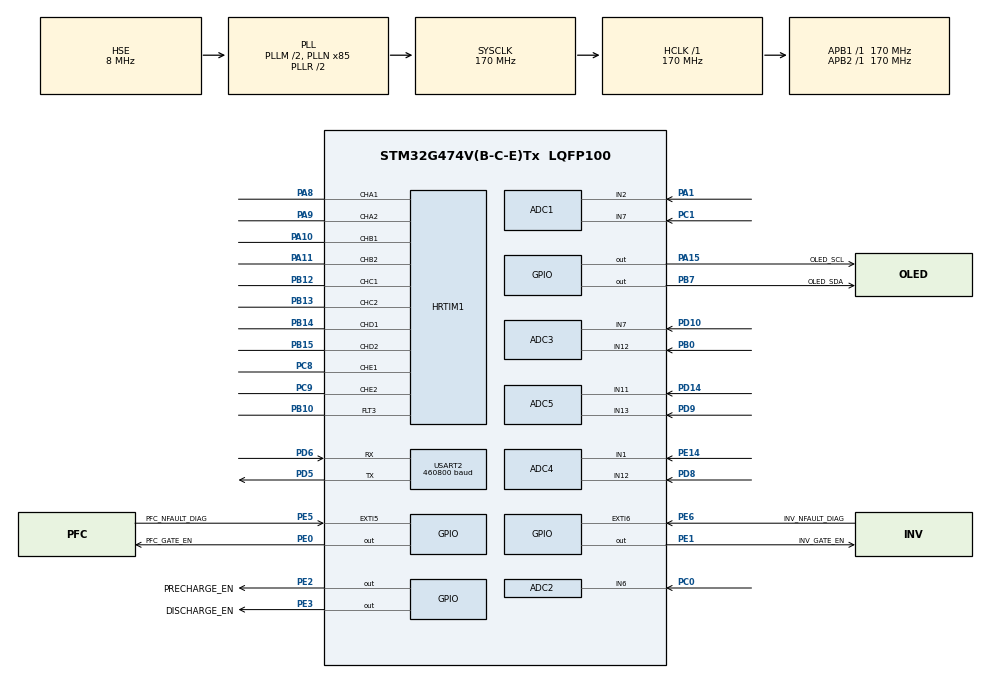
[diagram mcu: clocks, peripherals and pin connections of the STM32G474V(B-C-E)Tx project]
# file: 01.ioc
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ADC1.Channel-0\#ChannelRegularConversion=ADC_CHANNEL_2
ADC1.Channel-1\#ChannelRegularConversion=ADC_CHANNEL_7
ADC1.ClockPrescaler=ADC_CLOCK_ASYNC_DIV4
ADC1.DMAContinuousRequests=ENABLE
ADC1.EOCSelection=ADC_EOC_SEQ_CONV
ADC1.ExternalTrigConv=ADC_EXTERNALTRIG_HRTIM_TRG1
ADC1.NbrOfConversion=2
ADC1.NbrOfConversionFlag=1
ADC1.OffsetNumber-0\#ChannelRegularConversion=ADC_OFFSET_NONE
ADC1.OffsetNumber-1\#ChannelRegularConversion=ADC_OFFSET_NONE
ADC1.Overrun=ADC_OVR_DATA_OVERWRITTEN
ADC1.Rank-0\#ChannelRegularConversion=1
ADC1.Rank-1\#ChannelRegularConversion=2
ADC1.SamplingTime-0\#ChannelRegularConversion=ADC_SAMPLETIME_24CYCLES_5
ADC1.SamplingTime-1\#ChannelRegularConversion=ADC_SAMPLETIME_24CYCLES_5
ADC1.master=1
ADC2.Channel-0\#ChannelRegularConversion=ADC_CHANNEL_6
ADC2.ClockPrescaler=ADC_CLOCK_ASYNC_DIV4
ADC2.DMAContinuousRequests=ENABLE
ADC2.EOCSelection=ADC_EOC_SEQ_CONV
ADC2.ExternalTrigConv=ADC_EXTERNALTRIG_HRTIM_TRG1
ADC2.NbrOfConversion=1
ADC2.NbrOfConversionFlag=1
ADC2.OffsetNumber-0\#ChannelRegularConversion=ADC_OFFSET_NONE
ADC2.Overrun=ADC_OVR_DATA_OVERWRITTEN
ADC2.Rank-0\#ChannelRegularConversion=1
ADC2.SamplingTime-0\#ChannelRegularConversion=ADC_SAMPLETIME_24CYCLES_5
ADC3.Channel-0\#ChannelRegularConversion=ADC_CHANNEL_12
ADC3.Channel-2\#ChannelRegularConversion=ADC_CHANNEL_7
ADC3.ClockPrescaler=ADC_CLOCK_ASYNC_DIV4
ADC3.DMAContinuousRequests=ENABLE
ADC3.EOCSelection=ADC_EOC_SEQ_CONV
ADC3.ExternalTrigConv=ADC_EXTERNALTRIG_HRTIM_TRG2
ADC3.NbrOfConversion=2
ADC3.NbrOfConversionFlag=1
ADC3.OffsetNumber-2\#ChannelRegularConversion=ADC_OFFSET_NONE
ADC3.Overrun=ADC_OVR_DATA_OVERWRITTEN
ADC3.Rank-2\#ChannelRegularConversion=2
ADC3.SamplingTime-0\#ChannelRegularConversion=ADC_SAMPLETIME_24CYCLES_5
ADC3.SamplingTime-2\#ChannelRegularConversion=ADC_SAMPLETIME_24CYCLES_5
ADC3.master=1
ADC4.Channel-0\#ChannelRegularConversion=ADC_CHANNEL_12
ADC4.Channel-1\#ChannelRegularConversion=ADC_CHANNEL_1
ADC4.ClockPrescaler=ADC_CLOCK_ASYNC_DIV4
ADC4.DMAContinuousRequests=ENABLE
ADC4.EOCSelection=ADC_EOC_SEQ_CONV
ADC4.ExternalTrigConv=ADC_EXTERNALTRIG_HRTIM_TRG2
ADC4.NbrOfConversion=2
ADC4.NbrOfConversionFlag=1
ADC4.OffsetNumber-0\#ChannelRegularConversion=ADC_OFFSET_NONE
ADC4.OffsetNumber-1\#ChannelRegularConversion=ADC_OFFSET_NONE
ADC4.Overrun=ADC_OVR_DATA_OVERWRITTEN
ADC4.Rank-0\#ChannelRegularConversion=1
ADC4.Rank-1\#ChannelRegularConversion=2
ADC4.SamplingTime-0\#ChannelRegularConversion=ADC_SAMPLETIME_24CYCLES_5
ADC4.SamplingTime-1\#ChannelRegularConversion=ADC_SAMPLETIME_24CYCLES_5
ADC5.Channel-0\#ChannelRegularConversion=ADC_CHANNEL_13
ADC5.Channel-1\#ChannelRegularConversion=ADC_CHANNEL_11
ADC5.ClockPrescaler=ADC_CLOCK_ASYNC_DIV4
ADC5.DMAContinuousRequests=ENABLE
ADC5.EOCSelection=ADC_EOC_SEQ_CONV
ADC5.ExternalTrigConv=ADC_EXTERNALTRIG_HRTIM_TRG2
ADC5.NbrOfConversion=2
ADC5.NbrOfConversionFlag=1
ADC5.OffsetNumber-0\#ChannelRegularConversion=ADC_OFFSET_NONE
ADC5.OffsetNumber-1\#ChannelRegularConversion=ADC_OFFSET_NONE
ADC5.Overrun=ADC_OVR_DATA_OVERWRITTEN
ADC5.Rank-0\#ChannelRegularConversion=1
ADC5.Rank-1\#ChannelRegularConversion=2
ADC5.SamplingTime-0\#ChannelRegularConversion=ADC_SAMPLETIME_24CYCLES_5
ADC5.SamplingTime-1\#ChannelRegularConversion=ADC_SAMPLETIME_24CYCLES_5
Dma.ADC1.0.Direction=DMA_PERIPH_TO_MEMORY
Dma.ADC1.0.EventEnable=DISABLE
Dma.ADC1.0.Instance=DMA1_Channel1
Dma.ADC1.0.MemDataAlignment=DMA_MDATAALIGN_HALFWORD
Dma.ADC1.0.MemInc=DMA_MINC_ENABLE
Dma.ADC1.0.Mode=DMA_CIRCULAR
Dma.ADC1.0.PeriphDataAlignment=DMA_PDATAALIGN_HALFWORD
Dma.ADC1.0.PeriphInc=DMA_PINC_DISABLE
Dma.ADC1.0.Polarity=HAL_DMAMUX_REQ_GEN_RISING
Dma.ADC1.0.Priority=DMA_PRIORITY_HIGH
Dma.ADC1.0.RequestNumber=1
Dma.ADC1.0.SignalID=NONE
Dma.ADC1.0.SyncEnable=DISABLE
Dma.ADC1.0.SyncPolarity=HAL_DMAMUX_SYNC_NO_EVENT
Dma.ADC1.0.SyncRequestNumber=1
Dma.ADC1.0.SyncSignalID=NONE
Dma.ADC2.1.Direction=DMA_PERIPH_TO_MEMORY
Dma.ADC2.1.EventEnable=DISABLE
Dma.ADC2.1.Instance=DMA1_Channel2
Dma.ADC2.1.MemDataAlignment=DMA_MDATAALIGN_HALFWORD
Dma.ADC2.1.MemInc=DMA_MINC_ENABLE
Dma.ADC2.1.Mode=DMA_CIRCULAR
Dma.ADC2.1.PeriphDataAlignment=DMA_PDATAALIGN_HALFWORD
Dma.ADC2.1.PeriphInc=DMA_PINC_DISABLE
Dma.ADC2.1.Polarity=HAL_DMAMUX_REQ_GEN_RISING
Dma.ADC2.1.Priority=DMA_PRIORITY_HIGH
Dma.ADC2.1.RequestNumber=1
Dma.ADC2.1.SignalID=NONE
Dma.ADC2.1.SyncEnable=DISABLE
Dma.ADC2.1.SyncPolarity=HAL_DMAMUX_SYNC_NO_EVENT
Dma.ADC2.1.SyncRequestNumber=1
Dma.ADC2.1.SyncSignalID=NONE
Dma.ADC3.4.Direction=DMA_PERIPH_TO_MEMORY
Dma.ADC3.4.EventEnable=DISABLE
Dma.ADC3.4.Instance=DMA2_Channel1
Dma.ADC3.4.MemDataAlignment=DMA_MDATAALIGN_HALFWORD
Dma.ADC3.4.MemInc=DMA_MINC_ENABLE
Dma.ADC3.4.Mode=DMA_CIRCULAR
Dma.ADC3.4.PeriphDataAlignment=DMA_PDATAALIGN_HALFWORD
Dma.ADC3.4.PeriphInc=DMA_PINC_DISABLE
Dma.ADC3.4.Polarity=HAL_DMAMUX_REQ_GEN_RISING
Dma.ADC3.4.Priority=DMA_PRIORITY_HIGH
Dma.ADC3.4.RequestNumber=1
Dma.ADC3.4.SignalID=NONE
Dma.ADC3.4.SyncEnable=DISABLE
Dma.ADC3.4.SyncPolarity=HAL_DMAMUX_SYNC_NO_EVENT
Dma.ADC3.4.SyncRequestNumber=1
Dma.ADC3.4.SyncSignalID=NONE
Dma.ADC4.2.Direction=DMA_PERIPH_TO_MEMORY
Dma.ADC4.2.EventEnable=DISABLE
Dma.ADC4.2.Instance=DMA2_Channel2
Dma.ADC4.2.MemDataAlignment=DMA_MDATAALIGN_HALFWORD
Dma.ADC4.2.MemInc=DMA_MINC_ENABLE
Dma.ADC4.2.Mode=DMA_CIRCULAR
Dma.ADC4.2.PeriphDataAlignment=DMA_PDATAALIGN_HALFWORD
Dma.ADC4.2.PeriphInc=DMA_PINC_DISABLE
Dma.ADC4.2.Polarity=HAL_DMAMUX_REQ_GEN_RISING
Dma.ADC4.2.Priority=DMA_PRIORITY_HIGH
Dma.ADC4.2.RequestNumber=1
Dma.ADC4.2.SignalID=NONE
Dma.ADC4.2.SyncEnable=DISABLE
Dma.ADC4.2.SyncPolarity=HAL_DMAMUX_SYNC_NO_EVENT
Dma.ADC4.2.SyncRequestNumber=1
Dma.ADC4.2.SyncSignalID=NONE
Dma.ADC5.3.Direction=DMA_PERIPH_TO_MEMORY
Dma.ADC5.3.EventEnable=DISABLE
Dma.ADC5.3.Instance=DMA2_Channel3
Dma.ADC5.3.MemDataAlignment=DMA_MDATAALIGN_HALFWORD
Dma.ADC5.3.MemInc=DMA_MINC_ENABLE
Dma.ADC5.3.Mode=DMA_CIRCULAR
Dma.ADC5.3.PeriphDataAlignment=DMA_PDATAALIGN_HALFWORD
Dma.ADC5.3.PeriphInc=DMA_PINC_DISABLE
Dma.ADC5.3.Polarity=HAL_DMAMUX_REQ_GEN_RISING
Dma.ADC5.3.Priority=DMA_PRIORITY_HIGH
Dma.ADC5.3.RequestNumber=1
Dma.ADC5.3.SignalID=NONE
Dma.ADC5.3.SyncEnable=DISABLE
Dma.ADC5.3.SyncPolarity=HAL_DMAMUX_SYNC_NO_EVENT
Dma.ADC5.3.SyncRequestNumber=1
Dma.ADC5.3.SyncSignalID=NONE
Dma.Request0=ADC1
Dma.Request1=ADC2
Dma.Request2=ADC4
Dma.Request3=ADC5
Dma.Request4=ADC3
HRTIM1.ADCTrigger1_Source1=HRTIM_ADCTRIGGEREVENT13_MASTER_CMP2
HRTIM1.ADCTrigger2_Source1=HRTIM_ADCTRIGGEREVENT24_MASTER_CMP2
HRTIM1.ADCTrigger_Id1=HRTIM_ADCTRIGGER_1
HRTIM1.ADCTrigger_Id2=HRTIM_ADCTRIGGER_2
HRTIM1.BlankingSourceFaultLine3=__NULL
HRTIM1.Bmrom_TA=HRTIM_TIM_BMROM_BOTH
HRTIM1.Bmrom_TB=HRTIM_TIM_BMROM_BOTH
HRTIM1.Bmrom_TC=HRTIM_TIM_BMROM_BOTH
HRTIM1.Bmrom_TD=HRTIM_TIM_BMROM_BOTH
HRTIM1.Bmrom_TE=HRTIM_TIM_BMROM_BOTH
HRTIM1.CompareUnit1-MasterTimer=__NULL
HRTIM1.CompareUnit1-Output_TA1TA2=HRTIM_COMPAREUNIT_1
HRTIM1.CompareUnit1-Output_TB1TB2=HRTIM_COMPAREUNIT_1
HRTIM1.CompareUnit1-Output_TC1TC2=HRTIM_COMPAREUNIT_1
HRTIM1.CompareUnit1-Output_TD1TD2=HRTIM_COMPAREUNIT_1
HRTIM1.CompareUnit1-Output_TE1TE2=HRTIM_COMPAREUNIT_1
HRTIM1.CompareUnit2-MasterTimer=HRTIM_COMPAREUNIT_2
HRTIM1.CompareValue1-Output_TA1TA2=17000
HRTIM1.CompareValue1-Output_TB1TB2=17000
HRTIM1.CompareValue1-Output_TC1TC2=17000
HRTIM1.CompareValue1-Output_TD1TD2=17000
HRTIM1.CompareValue1-Output_TE1TE2=17000
HRTIM1.CompareValue2-MasterTimer=17000
HRTIM1.DeadTimeInsertion-Output_TA1TA2=HRTIM_TIMDEADTIMEINSERTION_ENABLED
HRTIM1.DeadTimeInsertion-Output_TB1TB2=HRTIM_TIMDEADTIMEINSERTION_ENABLED
HRTIM1.DeadTimeInsertion-Output_TC1TC2=HRTIM_TIMDEADTIMEINSERTION_ENABLED
HRTIM1.DeadTimeInsertion-Output_TD1TD2=HRTIM_TIMDEADTIMEINSERTION_ENABLED
HRTIM1.DeadTimeInsertion-Output_TE1TE2=HRTIM_TIMDEADTIMEINSERTION_ENABLED
HRTIM1.FallingValue-Output_TA1TA2=85
HRTIM1.FallingValue-Output_TB1TB2=85
HRTIM1.FallingValue-Output_TC1TC2=85
HRTIM1.FallingValue-Output_TD1TD2=85
HRTIM1.FallingValue-Output_TE1TE2=85
HRTIM1.FaultEnable_Source1-Output_TA1TA2=HRTIM_TIMFAULTENABLE_FAULT3
HRTIM1.FaultEnable_Source1-Output_TB1TB2=HRTIM_TIMFAULTENABLE_FAULT3
HRTIM1.FaultEnable_Source1-Output_TC1TC2=HRTIM_TIMFAULTENABLE_FAULT3
HRTIM1.FaultEnable_Source1-Output_TD1TD2=HRTIM_TIMFAULTENABLE_FAULT3
HRTIM1.FaultEnable_Source1-Output_TE1TE2=HRTIM_TIMFAULTENABLE_FAULT3
HRTIM1.FaultLevel1-Output_TA1TA2=HRTIM_OUTPUTFAULTLEVEL_INACTIVE
HRTIM1.FaultLevel1-Output_TB1TB2=HRTIM_OUTPUTFAULTLEVEL_INACTIVE
HRTIM1.FaultLevel1-Output_TC1TC2=HRTIM_OUTPUTFAULTLEVEL_INACTIVE
HRTIM1.FaultLevel1-Output_TD1TD2=HRTIM_OUTPUTFAULTLEVEL_INACTIVE
HRTIM1.FaultLevel1-Output_TE1TE2=HRTIM_OUTPUTFAULTLEVEL_INACTIVE
HRTIM1.FaultLevel2-Output_TA1TA2=HRTIM_OUTPUTFAULTLEVEL_INACTIVE
HRTIM1.FaultLevel2-Output_TB1TB2=HRTIM_OUTPUTFAULTLEVEL_INACTIVE
HRTIM1.FaultLevel2-Output_TC1TC2=HRTIM_OUTPUTFAULTLEVEL_INACTIVE
HRTIM1.FaultLevel2-Output_TD1TD2=HRTIM_OUTPUTFAULTLEVEL_INACTIVE
HRTIM1.FaultLevel2-Output_TE1TE2=HRTIM_OUTPUTFAULTLEVEL_INACTIVE
HRTIM1.Fault_Line3=HRTIM_FAULT_3
HRTIM1.Ferom_TA=HRTIM_TIM_FEROM_BOTH
HRTIM1.Ferom_TB=HRTIM_TIM_FEROM_BOTH
HRTIM1.Ferom_TC=HRTIM_TIM_FEROM_BOTH
HRTIM1.Ferom_TD=HRTIM_TIM_FEROM_BOTH
HRTIM1.Ferom_TE=HRTIM_TIM_FEROM_BOTH
HRTIM1.HRTIMInterruptResquests1=HRTIM_IT_FLT3
HRTIM1.NumberADCTriggerSource1=1
HRTIM1.NumberADCTriggerSource2=1
HRTIM1.NumberFaultEnable-Output_TA1TA2=1
HRTIM1.NumberFaultEnable-Output_TB1TB2=1
HRTIM1.NumberFaultEnable-Output_TC1TC2=1
HRTIM1.NumberFaultEnable-Output_TD1TD2=1
HRTIM1.NumberFaultEnable-Output_TE1TE2=1
HRTIM1.NumberResetSource1-Output_TA1TA2=1
HRTIM1.NumberResetSource1-Output_TB1TB2=1
HRTIM1.NumberResetSource1-Output_TC1TC2=1
HRTIM1.NumberResetSource1-Output_TD1TD2=1
HRTIM1.NumberResetSource1-Output_TE1TE2=1
HRTIM1.NumberSetSource1-Output_TA1TA2=1
HRTIM1.NumberSetSource1-Output_TB1TB2=1
HRTIM1.NumberSetSource1-Output_TC1TC2=1
HRTIM1.NumberSetSource1-Output_TD1TD2=1
HRTIM1.NumberSetSource1-Output_TE1TE2=1
HRTIM1.NumberUpdateTrigger-Output_TA1TA2=0
HRTIM1.Outrom_TA=HRTIM_TIM_OUTROM_VALLEY
HRTIM1.Outrom_TB=HRTIM_TIM_OUTROM_VALLEY
HRTIM1.Outrom_TC=HRTIM_TIM_OUTROM_VALLEY
HRTIM1.Outrom_TD=HRTIM_TIM_OUTROM_VALLEY
HRTIM1.Outrom_TE=HRTIM_TIM_OUTROM_VALLEY
HRTIM1.Periode_MASTER=34000
HRTIM1.Periode_TA=34000
HRTIM1.Periode_TB=34000
HRTIM1.Periode_TC=34000
HRTIM1.Periode_TD=34000
HRTIM1.Periode_TE=34000
HRTIM1.Polarity_FaultLine3=HRTIM_FAULTPOLARITY_LOW
HRTIM1.PreloadEnable-Output_TA1TA2=HRTIM_PRELOAD_ENABLED
HRTIM1.PreloadEnable-Output_TB1TB2=HRTIM_PRELOAD_ENABLED
HRTIM1.PreloadEnable-Output_TC1TC2=HRTIM_PRELOAD_ENABLED
HRTIM1.PreloadEnable-Output_TD1TD2=HRTIM_PRELOAD_ENABLED
HRTIM1.PreloadEnable-Output_TE1TE2=HRTIM_PRELOAD_ENABLED
HRTIM1.PrescalerDead-Output_TA1TA2=HRTIM_TIMDEADTIME_PRESCALERRATIO_DIV1
HRTIM1.PrescalerDead-Output_TB1TB2=HRTIM_TIMDEADTIME_PRESCALERRATIO_DIV1
HRTIM1.PrescalerDead-Output_TC1TC2=HRTIM_TIMDEADTIME_PRESCALERRATIO_DIV1
HRTIM1.PrescalerDead-Output_TD1TD2=HRTIM_TIMDEADTIME_PRESCALERRATIO_DIV1
HRTIM1.PrescalerDead-Output_TE1TE2=HRTIM_TIMDEADTIME_PRESCALERRATIO_DIV1
HRTIM1.PrescalerRatio_MASTER=HRTIM_PRESCALERRATIO_MUL2
HRTIM1.PrescalerRatio_TA=HRTIM_PRESCALERRATIO_MUL4
HRTIM1.PrescalerRatio_TB=HRTIM_PRESCALERRATIO_MUL4
HRTIM1.PrescalerRatio_TC=HRTIM_PRESCALERRATIO_MUL4
HRTIM1.PrescalerRatio_TD=HRTIM_PRESCALERRATIO_MUL4
HRTIM1.PrescalerRatio_TE=HRTIM_PRESCALERRATIO_MUL4
HRTIM1.RepetitionCounter-MasterTimer=0
HRTIM1.RepetitionCounter-Output_TA1TA2=0
HRTIM1.RepetitionCounter-Output_TB1TB2=0
HRTIM1.RepetitionCounter-Output_TC1TC2=0
HRTIM1.RepetitionCounter-Output_TD1TD2=0
HRTIM1.RepetitionCounter-Output_TE1TE2=0
HRTIM1.RepetitionUpdate-Output_TA1TA2=HRTIM_UPDATEONREPETITION_ENABLED
HRTIM1.RepetitionUpdate-Output_TB1TB2=HRTIM_UPDATEONREPETITION_ENABLED
HRTIM1.RepetitionUpdate-Output_TC1TC2=HRTIM_UPDATEONREPETITION_ENABLED
HRTIM1.RepetitionUpdate-Output_TD1TD2=HRTIM_UPDATEONREPETITION_ENABLED
HRTIM1.RepetitionUpdate-Output_TE1TE2=HRTIM_UPDATEONREPETITION_ENABLED
HRTIM1.ResetOutput1_Source1-Output_TA1TA2=HRTIM_OUTPUTRESET_TIMCMP1
HRTIM1.ResetOutput1_Source1-Output_TB1TB2=HRTIM_OUTPUTRESET_TIMCMP1
HRTIM1.ResetOutput1_Source1-Output_TC1TC2=HRTIM_OUTPUTRESET_TIMCMP1
HRTIM1.ResetOutput1_Source1-Output_TD1TD2=HRTIM_OUTPUTRESET_TIMCMP1
HRTIM1.ResetOutput1_Source1-Output_TE1TE2=HRTIM_OUTPUTRESET_TIMCMP1
HRTIM1.RisingValue-Output_TA1TA2=85
HRTIM1.RisingValue-Output_TB1TB2=85
HRTIM1.RisingValue-Output_TC1TC2=85
HRTIM1.RisingValue-Output_TD1TD2=85
HRTIM1.RisingValue-Output_TE1TE2=85
HRTIM1.SetOutput1_Source1-Output_TA1TA2=HRTIM_OUTPUTSET_TIMCMP1
HRTIM1.SetOutput1_Source1-Output_TB1TB2=HRTIM_OUTPUTSET_TIMCMP1
HRTIM1.SetOutput1_Source1-Output_TC1TC2=HRTIM_OUTPUTSET_TIMCMP1
HRTIM1.SetOutput1_Source1-Output_TD1TD2=HRTIM_OUTPUTSET_TIMCMP1
HRTIM1.SetOutput1_Source1-Output_TE1TE2=HRTIM_OUTPUTSET_TIMCMP1
HRTIM1.UpDownMode-Output_TA1TA2=HRTIM_TIMERUPDOWNMODE_UPDOWN
HRTIM1.UpDownMode-Output_TB1TB2=HRTIM_TIMERUPDOWNMODE_UPDOWN
HRTIM1.UpDownMode-Output_TC1TC2=HRTIM_TIMERUPDOWNMODE_UPDOWN
HRTIM1.UpDownMode-Output_TD1TD2=HRTIM_TIMERUPDOWNMODE_UPDOWN
HRTIM1.UpDownMode-Output_TE1TE2=HRTIM_TIMERUPDOWNMODE_UPDOWN
HRTIM1.postscaler1=0
HRTIM1.postscaler2=0
HRTIM1.rom_TA=HRTIM_TIM_ROM_VALLEY
HRTIM1.rom_TB=HRTIM_TIM_ROM_VALLEY
HRTIM1.rom_TC=HRTIM_TIM_ROM_VALLEY
HRTIM1.rom_TD=HRTIM_TIM_ROM_VALLEY
HRTIM1.rom_TE=HRTIM_TIM_ROM_VALLEY
IWDG.Prescaler=IWDG_PRESCALER_64
IWDG.Reload=249
Mcu.Family=STM32G4
Mcu.Name=STM32G474V(B-C-E)Tx
Mcu.Package=LQFP100
NVIC.ADC1_2_IRQn=true\:1\:0\:true\:false\:true\:true\:true\:true
NVIC.ADC3_IRQn=true\:1\:0\:true\:false\:true\:true\:true\:true
NVIC.ADC4_IRQn=true\:1\:0\:true\:false\:true\:true\:true\:true
NVIC.ADC5_IRQn=true\:1\:0\:true\:false\:true\:true\:true\:true
NVIC.DMA1_Channel1_IRQn=true\:2\:0\:true\:false\:true\:false\:true\:true
NVIC.DMA1_Channel2_IRQn=true\:1\:0\:true\:false\:true\:false\:true\:true
NVIC.DMA2_Channel1_IRQn=true\:1\:0\:true\:false\:true\:false\:true\:true
NVIC.DMA2_Channel2_IRQn=true\:1\:0\:true\:false\:true\:false\:true\:true
NVIC.DMA2_Channel3_IRQn=true\:1\:0\:true\:false\:true\:false\:true\:true
NVIC.EXTI9_5_IRQn=true\:3\:0\:true\:false\:true\:true\:true\:true
NVIC.HRTIM1_FLT_IRQn=true\:0\:0\:false\:false\:true\:true\:true\:true
NVIC.PriorityGroup=NVIC_PRIORITYGROUP_4
PA1.Mode=IN2-Single-Ended
PA1.Signal=ADC1_IN2
PA10.Mode=Output_TB1TB2
PA10.Signal=HRTIM1_CHB1
PA11.Mode=Output_TB1TB2
PA11.Signal=HRTIM1_CHB2
PA13.Mode=Serial_Wire
PA13.Signal=SYS_JTMS-SWDIO
PA14.Mode=Serial_Wire
PA14.Signal=SYS_JTCK-SWCLK
PA15.GPIO_Label=OLED_SCL
PA15.GPIO_ModeDefaultOutputPP=GPIO_MODE_OUTPUT_PP
PA15.GPIO_PuPd=GPIO_NOPULL
PA15.GPIO_Speed=GPIO_SPEED_FREQ_HIGH
PA15.Signal=GPIO_Output
PA8.Mode=Output_TA1TA2
PA8.Signal=HRTIM1_CHA1
PA9.Mode=Output_TA1TA2
PA9.Signal=HRTIM1_CHA2
PB0.Mode=IN12-Single-Ended
PB0.Signal=ADC3_IN12
PB10.GPIO_PuPd=GPIO_PULLUP
PB10.Mode=Fault_Enable3
PB10.Signal=HRTIM1_FLT3
PB12.Mode=Output_TC1TC2
PB12.Signal=HRTIM1_CHC1
PB13.Mode=Output_TC1TC2
PB13.Signal=HRTIM1_CHC2
PB14.Mode=Output_TD1TD2
PB14.Signal=HRTIM1_CHD1
PB15.Mode=Output_TD1TD2
PB15.Signal=HRTIM1_CHD2
PB7.GPIO_Label=OLED_SDA
PB7.GPIO_ModeDefaultOutputPP=GPIO_MODE_OUTPUT_OD
PB7.GPIO_PuPd=GPIO_NOPULL
PB7.GPIO_Speed=GPIO_SPEED_FREQ_HIGH
PB7.Signal=GPIO_Output
PC0.Mode=IN6-Single-Ended
PC0.Signal=ADC2_IN6
PC1.Mode=IN7-Single-Ended
PC1.Signal=ADC1_IN7
PC8.Mode=Output_TE1TE2
PC8.Signal=HRTIM1_CHE1
PC9.Mode=Output_TE1TE2
PC9.Signal=HRTIM1_CHE2
PD10.Mode=IN7-Single-Ended
PD10.Signal=ADC3_IN7
PD14.Mode=IN11-Single-Ended
PD14.Signal=ADC5_IN11
PD5.Mode=Asynchronous
PD5.Signal=USART2_TX
PD6.Mode=Asynchronous
PD6.Signal=USART2_RX
PD8.Mode=IN12-Single-Ended
PD8.Signal=ADC4_IN12
PD9.Mode=IN13-Single-Ended
PD9.Signal=ADC5_IN13
PE0.GPIO_Label=PFC_GATE_EN
PE0.GPIO_PuPd=GPIO_NOPULL
PE0.Signal=GPIO_Output
PE1.GPIO_Label=INV_GATE_EN
PE1.Signal=GPIO_Output
PE14.Mode=IN1-Single-Ended
PE14.Signal=ADC4_IN1
PE2.GPIO_Label=PRECHARGE_EN
PE2.Signal=GPIO_Output
PE3.GPIO_Label=DISCHARGE_EN
PE3.Signal=GPIO_Output
PE5.GPIO_Label=PFC_NFAULT_DIAG
PE5.GPIO_ModeDefaultEXTI=GPIO_MODE_IT_FALLING
PE5.GPIO_PuPd=GPIO_PULLUP
PE5.Signal=GPXTI5
PE6.GPIO_Label=INV_NFAULT_DIAG
PE6.GPIO_ModeDefaultEXTI=GPIO_MODE_IT_FALLING
PE6.GPIO_PuPd=GPIO_PULLUP
PE6.Signal=GPXTI6
PF0-OSC_IN.Mode=HSE-External-Oscillator
PF0-OSC_IN.Signal=RCC_OSC_IN
PF1-OSC_OUT.Mode=HSE-External-Oscillator
PF1-OSC_OUT.Signal=RCC_OSC_OUT
ProjectManager.HeapSize=0x200
ProjectManager.StackSize=0x400
ProjectManager.TargetToolchain=MDK-ARM V5.32
RCC.ADC12Freq_Value=170000000
RCC.ADC345Freq_Value=170000000
RCC.AHBFreq_Value=170000000
RCC.APB1Freq_Value=170000000
RCC.APB1TimFreq_Value=170000000
RCC.APB2Freq_Value=170000000
RCC.APB2TimFreq_Value=170000000
RCC.CortexFreq_Value=170000000
RCC.EXTERNAL_CLOCK_VALUE=12288000
RCC.EnbaleCSS=true
RCC.HCLKFreq_Value=170000000
RCC.HSE_VALUE=8000000
RCC.HSI48_VALUE=48000000
RCC.HSI_VALUE=16000000
RCC.LSE_VALUE=32768
RCC.PLLM=RCC_PLLM_DIV2
RCC.PLLN=85
RCC.PLLSourceVirtual=RCC_PLLSOURCE_HSE
RCC.SYSCLKFreq_VALUE=170000000
RCC.SYSCLKSource=RCC_SYSCLKSOURCE_PLLCLK
RCC.USBFreq_Value=170000000
RCC.VCOOutputFreq_Value=340000000
USART2.BaudRate=460800
USART2.VirtualMode-Asynchronous=VM_ASYNC
VP_HRTIM1_VS_hrtimMasterTimerNoOutput.Mode=MasterTimer
VP_IWDG_VS_IWDG.Mode=IWDG_Activate
VP_SYS_VS_DBSignals.Mode=DisableDeadBatterySignals
board=custom

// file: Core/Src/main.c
/* USER CODE BEGIN Header */
/**
  ******************************************************************************
  * @file           : main.c
  * @brief          : Main program body
  ******************************************************************************
  * @attention
  *
  * Copyright (c) 2026 STMicroelectronics.
  * All rights reserved.
  *
  * This software is licensed under terms that can be found in the LICENSE file
  * in the root directory of this software component.
  * If no LICENSE file comes with this software, it is provided AS-IS.
  *
  ******************************************************************************
  */
/* USER CODE END Header */
#include "main.h"
#include "adc.h"
#include "dma.h"
#include "hrtim.h"
#include "usart.h"
#include "gpio.h"

/* USER CODE BEGIN Includes */
#include "OLED.h"
#include "pfc_measure.h"
#include "pfc_hrtim.h"
#include "iwdg.h"
#include "vofa.h"
#include "SPWM.h"  /* HRTIM单相全桥单极性倍频SPWM模块。 */
/* USER CODE END Includes */

/* USER CODE BEGIN PV */

/*
 * VOFA发送数组与VOFA+通道顺序一一对应，固定为8通道：
 * 测试锯齿、三路ADC原始值、三路换算值和故障位。
 */
static float vofa_data[VOFA_MAX_CHANNELS] = {0.0f};

/* 0~99循环计数，经乘以0.01后形成0.00~0.99的1 Hz测试锯齿波。 */
static uint16_t vofa_ramp_index = 0U;

/* 供Keil Watch观察串口HAL调用结果；通信失败不触发功率故障。 */
static uint32_t vofa_tx_ok_count = 0U;
static uint32_t vofa_tx_error_count = 0U;

/* USER CODE END PV */

void SystemClock_Config(void);

/* USER CODE BEGIN 0 */

/* 无功率开环试波使用的四路HRTIM输出；PE0在整个测试过程中保持低电平。 */
#define PFC_OPEN_LOOP_OUTPUTS (HRTIM_OUTPUT_TA1 | HRTIM_OUTPUT_TA2 | \
                               HRTIM_OUTPUT_TB1 | HRTIM_OUTPUT_TB2)

/* USER CODE END 0 */

int main(void)
{

  /* MCU Configuration--------------------------------------------------------*/

  /* Reset of all peripherals, Initializes the Flash interface and the Systick. */
  HAL_Init();

  /* Configure the system clock */
  SystemClock_Config();

  /* Initialize all configured peripherals */
  MX_GPIO_Init();
  MX_DMA_Init();
  MX_HRTIM1_Init();
  MX_ADC1_Init();
  MX_ADC2_Init();
  MX_USART2_UART_Init();
  MX_ADC3_Init();
  MX_ADC4_Init();
  MX_ADC5_Init();
  /* USER CODE BEGIN 2 */

	/*
	 * 上电后先等待OLED内部电源和电荷泵稳定。该延时只在初始化阶段执行，
	 * 不能放入主循环或快速采样回调，否则会阻塞后台任务或控制节拍。
	 */
	HAL_Delay(100);
	OLED_Init();

	/* 初始化测量模块的软件状态、DMA样本快照、序列号和故障标志。 */
	PFC_Measure_Init();

	/*
	 * 固定标签只写一次，避免软件I2C在主循环中重复传输不变内容：
	 * I：IPFC输入电感电流；V：VAC交流输入电压；
	 * D：VBUS直流母线电压；S：快速采样心跳，行末显示故障位。
	 * 各测量行左侧为ADC原始码，右侧为换算后的工程量。
	 * 采样心跳 是周期递增或周期变化的计数，用于确认采样、通信和主循环没有卡死。
	 * 故障码 是当前或历史保护状态，例如过流、母线过压/欠压、输入欠压、过温、驱动异常等。
	 *	具体每个数值或位的含义，需要看该项目的故障码定义表。
	 */
	OLED_ShowString(1, 1, "I:");
	OLED_ShowString(2, 1, "V:");
	OLED_ShowString(3, 1, "D:");
	OLED_ShowString(4, 1, "S:");

  /*
   * 无功率采样阶段只验证HRTIM触发、ADC和DMA链路。
   * PE0保持低电平，防止仅启动HRTIM计数器时误使能外部门极驱动器。
   */
  HAL_GPIO_WritePin(PFC_GATE_EN_GPIO_Port, PFC_GATE_EN_Pin, GPIO_PIN_RESET);

  /* ADC校准必须在启动规则组DMA之前完成，此时HRTIM尚未产生ADC触发。 */
  if (HAL_ADCEx_Calibration_Start(&hadc2, ADC_SINGLE_ENDED) != HAL_OK)
  {
    PFC_Measure_Trip(PFC_FAULT_ADC_ERROR);
    Error_Handler();
  }

  /* 再校准IPFC和VBUS使用的ADC1。 */
  if (HAL_ADCEx_Calibration_Start(&hadc1, ADC_SINGLE_ENDED) != HAL_OK)
  {
    PFC_Measure_Trip(PFC_FAULT_ADC_ERROR);
    Error_Handler();
  }

  /*
   * ADC2规则组只有VAC一个Rank。先启动ADC2 DMA，使其提前进入等待
   * HRTIM_TRG1的状态；之后每次触发完成都更新VAC及adc2_sequence。
   */
  if (HAL_ADC_Start_DMA(&hadc2, (uint32_t *)PFC_Adc2Dma, 1U) != HAL_OK)
  {
    PFC_Measure_Trip(PFC_FAULT_ADC_ERROR);
    Error_Handler();
  }

  /*
   * ADC1规则组依次采集IPFC和VBUS，DMA长度2必须与Rank数量一致。
   * ADC1完成回调在两个Rank均搬运结束后发生，并作为唯一10 kHz快速入口；
   * ADC2回调只发布VAC序列，不能再次执行同一周期的控制或测量处理。
   */
  if (HAL_ADC_Start_DMA(&hadc1, (uint32_t *)PFC_Adc1Dma, 2U) != HAL_OK)
  {
    PFC_Measure_Trip(PFC_FAULT_ADC_ERROR);
    Error_Handler();
  }

  /*
   * 循环DMA默认会产生Half Transfer和Transfer Complete两类中断。
   * 本工程只在一整个规则序列完成后处理样本，因此关闭HT中断，
   * 避免ADC1 Rank 1完成时提前读取尚未更新的VBUS并重复进入回调。
   */
  __HAL_DMA_DISABLE_IT(hadc2.DMA_Handle, DMA_IT_HT);
  __HAL_DMA_DISABLE_IT(hadc1.DMA_Handle, DMA_IT_HT);

  /* 使用10%调制度初始化50 Hz开环正弦，初始比较值保持两个桥臂均为50%。 */
  SPWM_Init(0.10f);

  /*
   * 启动Master、Timer A/B计数器以产生10 kHz ADC Trigger。
   * 此函数只建立采样时基，不开放TA1/TA2/TB1/TB2输出，也不拉高PE0。
   */
  if (PFC_HRTIM_StartSampling() != HAL_OK)
  {
    PFC_Measure_Trip(PFC_FAULT_HRTIM);
    Error_Handler();
  }

  /*
   * 只开放MCU的四路HRTIM引脚供示波器观察，PE0仍保持低电平，
   * 因此本阶段不会使能外部门极驱动器或接入实际交流功率级。
   */
  if (HAL_HRTIM_WaveformOutputStart(&hhrtim1, PFC_OPEN_LOOP_OUTPUTS) != HAL_OK)
  {
    PFC_Measure_Trip(PFC_FAULT_HRTIM);
    Error_Handler();
  }

  /*
   * IWDG放在可能耗时或失败的初始化之后启动。启动后不能关闭，只有在
   * ADC序列、测量快照和故障状态均正常时才刷新，异常时允许其复位系统。
   */
  MX_IWDG_Init();

  /* USER CODE END 2 */

  /* Infinite loop */
  /* USER CODE BEGIN WHILE */

  /* OLED属于低速后台任务，不参与10 kHz采样回调。 */
  uint32_t oled_tick = HAL_GetTick();

  /* VOFA以10 ms为发送周期，即每秒发送约100帧。 */
  uint32_t vofa_tick = HAL_GetTick();

  /* 保存上一次监督时刻的序列号，用来判断两路DMA是否仍在持续更新。 */
  uint32_t last_adc1_sequence = 0U;
  uint32_t last_adc2_sequence = 0U;
  while (1)
  {
    /* USER CODE END WHILE */

    /* USER CODE BEGIN 3 */

	/*
	 * 每10 ms发送一次VOFA数据。阻塞式USART只允许放在主循环，
	 * 不能放进10 kHz ADC DMA回调，否则会破坏快速采样和后续控制节拍。
	 */
	if ((HAL_GetTick() - vofa_tick) >= 10U)
	{
		PFC_Measurement vofa_measurement;

		/* 以当前时刻为新基准，主循环偶尔延迟时不连续补发旧帧。 */
		vofa_tick = HAL_GetTick();

		/* 读取ISR已经发布的完整快照，不直接读取正在由DMA改写的数组。 */
		PFC_Measure_GetSnapshot(&vofa_measurement);

		/* CH0：独立于ADC的已知锯齿波，用来直接判断USART和VOFA链路。 */
		vofa_data[0] = (float)vofa_ramp_index * 0.01f;
		vofa_ramp_index++;
		if (vofa_ramp_index >= 100U)
		{
			vofa_ramp_index = 0U;
		}

		/* CH1~CH3：原始码值，便于先验证ADC数据是否随输入变化。 */
		vofa_data[1] = (float)vofa_measurement.ipfc_raw;
		vofa_data[2] = (float)vofa_measurement.vac_raw;
		vofa_data[3] = (float)vofa_measurement.vbus_raw;

		/* CH4~CH6：换算后的电流/电压，比例系数后续按模拟前端实测修改。 */
		vofa_data[4] = vofa_measurement.ipfc;
		vofa_data[5] = vofa_measurement.vac;
		vofa_data[6] = vofa_measurement.vbus;

		/* CH7：锁存故障位，正常为0；转为float仅用于JustFloat显示。 */
		vofa_data[7] = (float)vofa_measurement.fault_bits;

		/*
		 * HAL_OK只能说明MCU已完成串口发送，最终链路仍需观察VOFA曲线确认。
		 * 调试通信不是保护条件，因此发送失败只计数，不停ADC/HRTIM也不喂故障。
		 */
		if (VOFA_Send(&huart2, vofa_data, VOFA_MAX_CHANNELS) == HAL_OK)
		{
			vofa_tx_ok_count++;
		}
		else
		{
			vofa_tx_error_count++;
		}
	}

	/*
	 * 每100 ms执行一次低速显示和安全监督。这里使用无阻塞的Tick差值，
	 * 而不是HAL_Delay()，以便主循环后续继续加入状态机和通信任务。
	 */
	if ((HAL_GetTick() - oled_tick) >= 100U)
    {
		/* 记录本次实际执行时刻；OLED写屏超时后不连续追赶历史周期。 */
		oled_tick = HAL_GetTick();
        PFC_Measurement measurement;
        int32_t ipfc_ma;
        int32_t vac_cv;
        uint32_t vbus_cv;

        /*
         * 主循环不直接读取正在被DMA改写的PFC_Adc1Dma/PFC_Adc2Dma。
         * 通过测量模块取得同一发布时刻的完整快照，避免显示半更新数据。
         */
        PFC_Measure_GetSnapshot(&measurement);

        /*
         * 屏幕显示使用整数，避免在软件I2C显示函数中处理浮点格式化：
         * ipfc_ma单位为mA，vac_cv和vbus_cv单位均为0.01 V。
         */
        ipfc_ma = (int32_t)(measurement.ipfc * 1000.0f);
        vac_cv = (int32_t)(measurement.vac * 100.0f);
        vbus_cv = (uint32_t)(measurement.vbus * 100.0f);

        /* 固定标签已在初始化阶段写入，此处只更新会变化的数字区域。 */
        OLED_ShowNum(1, 3, measurement.ipfc_raw, 4);
        OLED_ShowSignedNum(1, 8, ipfc_ma, 5);

        OLED_ShowNum(2, 3, measurement.vac_raw, 4);
        OLED_ShowSignedNum(2, 8, vac_cv, 5);

        OLED_ShowNum(3, 3, measurement.vbus_raw, 4);
        OLED_ShowNum(3, 8, vbus_cv, 5);

        OLED_ShowNum(4, 3, measurement.fast_heartbeat % 100000U, 5);
        OLED_ShowHexNum(4, 10, measurement.fault_bits, 2);

        /*
         * 两个序列号在相邻监督周期之间都必须前进。任一路停滞说明ADC、
         * DMA或HRTIM触发链路异常，锁存同步故障并由测量模块执行安全停机。
         */
        if ((measurement.adc1_sequence == last_adc1_sequence) ||
            (measurement.adc2_sequence == last_adc2_sequence))
        {
            PFC_Measure_Trip(PFC_FAULT_ADC_SYNC);
        }
        else if ((measurement.valid != 0U) &&
                 (measurement.fault_bits == PFC_FAULT_NONE))
        {
            /* 仅健康状态喂狗；不要在中断中或无条件刷新IWDG。 */
            (void)HAL_IWDG_Refresh(&hiwdg);
        }

        /* 保存本次序列号，供下一个100 ms监督周期比较。 */
        last_adc1_sequence = measurement.adc1_sequence;
        last_adc2_sequence = measurement.adc2_sequence;

    }

  }
  /* USER CODE END 3 */
}

void SystemClock_Config(void)
{
  RCC_OscInitTypeDef RCC_OscInitStruct = {0};
  RCC_ClkInitTypeDef RCC_ClkInitStruct = {0};

  /** Configure the main internal regulator output voltage
  */
  HAL_PWREx_ControlVoltageScaling(PWR_REGULATOR_VOLTAGE_SCALE1_BOOST);

  /** Initializes the RCC Oscillators according to the specified parameters
  * in the RCC_OscInitTypeDef structure.
  */
  RCC_OscInitStruct.OscillatorType = RCC_OSCILLATORTYPE_LSI|RCC_OSCILLATORTYPE_HSE;
  RCC_OscInitStruct.HSEState = RCC_HSE_ON;
  RCC_OscInitStruct.LSIState = RCC_LSI_ON;
  RCC_OscInitStruct.PLL.PLLState = RCC_PLL_ON;
  RCC_OscInitStruct.PLL.PLLSource = RCC_PLLSOURCE_HSE;
  RCC_OscInitStruct.PLL.PLLM = RCC_PLLM_DIV2;
  RCC_OscInitStruct.PLL.PLLN = 85;
  RCC_OscInitStruct.PLL.PLLP = RCC_PLLP_DIV2;
  RCC_OscInitStruct.PLL.PLLQ = RCC_PLLQ_DIV2;
  RCC_OscInitStruct.PLL.PLLR = RCC_PLLR_DIV2;
  if (HAL_RCC_OscConfig(&RCC_OscInitStruct) != HAL_OK)
  {
    Error_Handler();
  }

  /** Initializes the CPU, AHB and APB buses clocks
  */
  RCC_ClkInitStruct.ClockType = RCC_CLOCKTYPE_HCLK|RCC_CLOCKTYPE_SYSCLK
                              |RCC_CLOCKTYPE_PCLK1|RCC_CLOCKTYPE_PCLK2;
  RCC_ClkInitStruct.SYSCLKSource = RCC_SYSCLKSOURCE_PLLCLK;
  RCC_ClkInitStruct.AHBCLKDivider = RCC_SYSCLK_DIV1;
  RCC_ClkInitStruct.APB1CLKDivider = RCC_HCLK_DIV1;
  RCC_ClkInitStruct.APB2CLKDivider = RCC_HCLK_DIV1;

  if (HAL_RCC_ClockConfig(&RCC_ClkInitStruct, FLASH_LATENCY_4) != HAL_OK)
  {
    Error_Handler();
  }

  /** Enables the Clock Security System
  */
  HAL_RCC_EnableCSS();
}

/* USER CODE BEGIN 4 */

/**
 * @brief ADC规则组DMA完整传输回调。
 * @param hadc 发生完整转换事件的ADC句柄。
 *
 * 两路ADC均由HRTIM Master CMP2通过HRTIM_TRG1以10 kHz触发。
 * ADC2先完成单通道VAC采样并发布序列号；ADC1完成IPFC、VBUS两个Rank后，
 * 检查ADC2的新样本并形成一次同步测量快照。控制算法后续也应只从ADC1
 * 分支进入，避免一个PWM周期执行两次。
 *
 * 该函数运行在DMA中断上下文，禁止调用OLED、阻塞式USART或HAL_Delay()。
 */
void HAL_ADC_ConvCpltCallback(ADC_HandleTypeDef *hadc)
{
  if ((hadc != NULL) && (hadc->Instance == ADC2))
  {
    PFC_Measure_OnAdc2Complete();
  }
  else if ((hadc != NULL) && (hadc->Instance == ADC1))
  {
    PFC_Measure_OnAdc1Complete();

    /* ADC1完整序列是唯一10 kHz更新入口；锁存故障后不得继续推进SPWM。 */
    if (PFC_Measure_GetFault() == PFC_FAULT_NONE)
    {
      SPWM_OpenLoopStep();
    }
  }
}

void HAL_ADC_ErrorCallback(ADC_HandleTypeDef *hadc)
{
  /*
   * ADC发生Overrun、DMA或内部状态错误时进入。当前不区分具体ADC，
   * 统一交给测量模块锁存ADC故障；功率控制中不能尝试自动恢复输出。
   */
  (void)hadc;
  PFC_Measure_AdcError();
}

/**
 * @brief GPIO外部中断公共回调。
 * @param GPIO_Pin 触发EXTI的GPIO引脚掩码。
 *
 * PE5是驱动器nFAULT诊断信号。该回调用于记录和锁存故障；真正的快速
 * 关断应由驱动器DESAT/OCP到HRTIM Fault 3的硬件链路完成，不依赖CPU。
 */
void HAL_GPIO_EXTI_Callback(uint16_t GPIO_Pin)
{
  if (GPIO_Pin == PFC_NFAULT_DIAG_Pin)
  {
    PFC_Measure_Trip(PFC_FAULT_DRIVER);
  }
}

void HAL_HRTIM_Fault3Callback(HRTIM_HandleTypeDef *hhrtim)
{
  /*
   * Fault 3硬件逻辑已先把HRTIM输出置为Inactive；ISR随后记录故障状态，
   * 供主循环显示和状态机处理。清除中断标志不代表允许自动恢复PWM。
   */
  (void)hhrtim;
  PFC_Measure_Trip(PFC_FAULT_HRTIM);
}

/* USER CODE END 4 */

void Error_Handler(void)
{
  /* USER CODE BEGIN Error_Handler_Debug */
  /*
   * 不可恢复的初始化或HAL错误统一进入安全态：先关闭全部HRTIM计数和
   * 输出，再禁止中断并停留；若IWDG已经启动，最终由IWDG复位系统。
   * 板级Gate Enable还应保持默认低。
   */
  PFC_HRTIM_StopAll();
  __disable_irq();
  while (1)
  {
  }
  /* USER CODE END Error_Handler_Debug */
}
